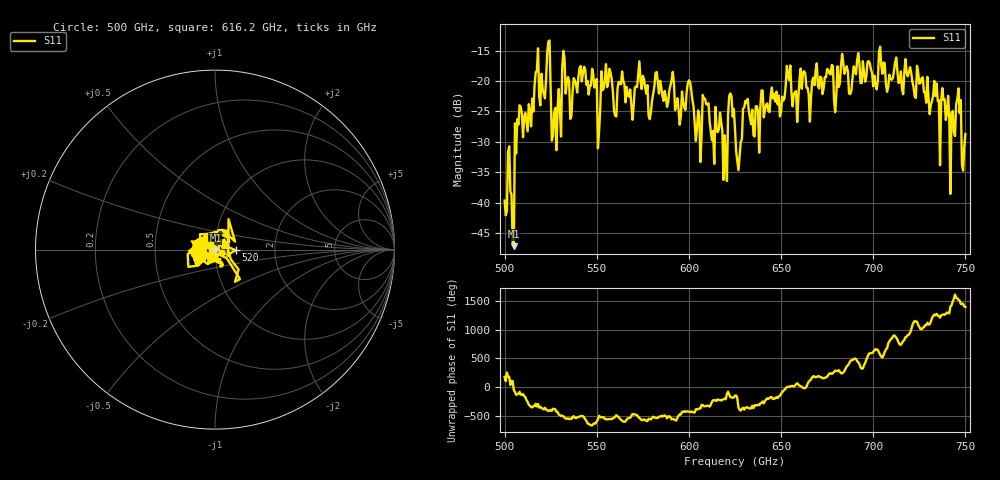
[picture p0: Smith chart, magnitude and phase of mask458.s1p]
!Created with skrf (http://scikit-rf.org).
# GHz S MA R 50.0
!freq magS11 angS11
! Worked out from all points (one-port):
!   401 points, 500 GHz to 750 GHz, reference 50 ohm
!   lowest |S11| = -47.1 dB at 505 GHz (marker M1), VSWR 1.01, Z = 50.3 - j0.361 ohm
!   |S11| at or under -10 dB: start of sweep to end of sweep
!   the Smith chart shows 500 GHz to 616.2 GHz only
!   S11 on the Smith chart (normalised r, x): 500 GHz: 0.98, +0.00; 520 GHz: 1.26, -0.01; 616.2 GHz: 0.94, +0.05
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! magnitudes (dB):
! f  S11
! 500 GHz  -39.6
! 505 GHz  -47.1
! 508.1 GHz  -24.0
! 520 GHz  -18.8
! 523.8 GHz  -13.5
! 526.9 GHz  -25.3
! 531.2 GHz  -17.8
! 548.8 GHz  -21.1
! 550.6 GHz  -31.0
! 562.5 GHz  -20.3
! 590.6 GHz  -19.8
! 593.8 GHz  -22.8
! 600 GHz  -19.9
! 605 GHz  -24.9
! 608.8 GHz  -22.9
! 612.5 GHz  -29.8
! 616.2 GHz  -27.9
! 619.4 GHz  -28.9
! 622.5 GHz  -22.0
! 625 GHz  -27.8
! 626.9 GHz  -34.7
! 630.6 GHz  -23.3
! 656.2 GHz  -24.1
! 687.5 GHz  -22.2
! 718.8 GHz  -19.2
! 743.1 GHz  -24.9
! 746.2 GHz  -21.2
! 750 GHz  -28.7
